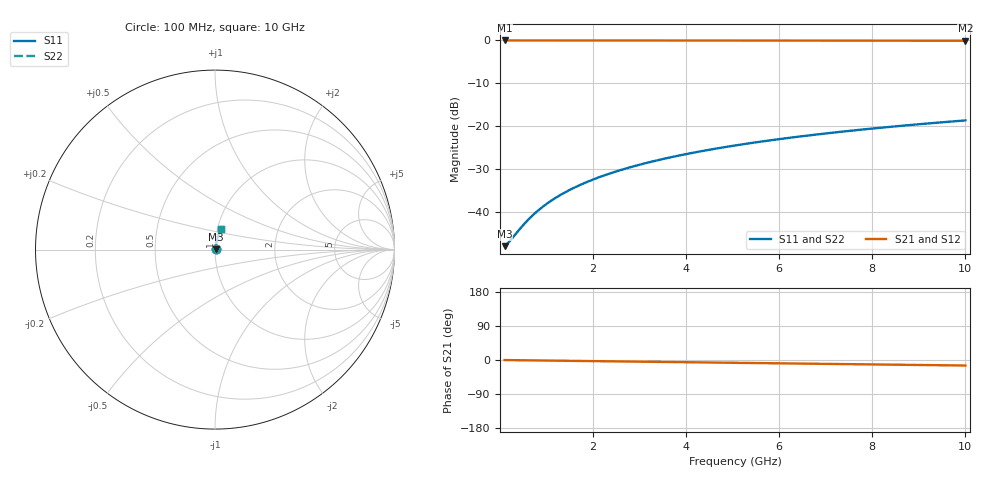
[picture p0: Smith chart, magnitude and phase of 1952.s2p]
# Hz S RI R 50.00
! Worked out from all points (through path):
!   100 points, 100 MHz to 10 GHz, reference 50 ohm
!   highest |S21| = -0.03 dB at 100 MHz (marker M1); lowest = -0.1 dB at 10 GHz (marker M2)
!   group delay of S21, straight-line fit = 4.05 ps
!   lowest |S11| = -47.8 dB at 100 MHz (marker M3), VSWR 1.01, Z = 50.4 + j0.119 ohm
!   |S11| at or under -10 dB: start of sweep to end of sweep
!   |S22| runs from -47.8 to -18.6 dB; largest |S21 - S12| = 0
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1e8  0.00388 0.00118  0.9961 -0.00254  0.9961 -0.00254  0.00388 0.00118
2e8  0.00392 0.00236  0.9961 -0.00509  0.9961 -0.00509  0.00392 0.00236
5e8  0.00402 0.0059  0.9959 -0.0127  0.9959 -0.0127  0.00402 0.0059
6e8  0.00407 0.00707  0.9959 -0.0153  0.9959 -0.0153  0.00407 0.00707
7e8  0.00412 0.00825  0.9958 -0.0178  0.9958 -0.0178  0.00412 0.00825
9e8  0.00423 0.0106  0.9957 -0.0229  0.9957 -0.0229  0.00423 0.0106
1.1e9  0.00437 0.013  0.9955 -0.028  0.9955 -0.028  0.00437 0.013
1.3e9  0.00453 0.0153  0.9953 -0.033  0.9953 -0.033  0.00453 0.0153
1.5e9  0.00471 0.0177  0.9951 -0.0381  0.9951 -0.0381  0.00471 0.0177
1.8e9  0.00502 0.0212  0.9947 -0.0457  0.9947 -0.0457  0.00502 0.0212
2.1e9  0.00539 0.0247  0.9942 -0.0533  0.9942 -0.0533  0.00539 0.0247
2.5e9  0.00596 0.0294  0.9934 -0.0635  0.9934 -0.0635  0.00596 0.0294
2.9e9  0.00662 0.034  0.9926 -0.0736  0.9926 -0.0736  0.00662 0.034
3.4e9  0.00759 0.0399  0.9913 -0.0862  0.9913 -0.0862  0.00759 0.0399
3.8e9  0.00846 0.0445  0.9901 -0.0963  0.9901 -0.0963  0.00846 0.0445
4.2e9  0.00943 0.0491  0.9889 -0.1064  0.9889 -0.1064  0.00943 0.0491
5.1e9  0.012 0.0594  0.9856 -0.129  0.9856 -0.129  0.012 0.0594
5.9e9  0.0146 0.0684  0.9821 -0.1489  0.9821 -0.1489  0.0146 0.0684
6.7e9  0.0176 0.0773  0.9781 -0.1688  0.9781 -0.1688  0.0176 0.0773
7.5e9  0.0209 0.086  0.9737 -0.1885  0.9737 -0.1885  0.0209 0.086
8.4e9  0.0251 0.0957  0.9682 -0.2104  0.9682 -0.2104  0.0251 0.0957
1e10  0.0336 0.1123  0.9569 -0.249  0.9569 -0.249  0.0336 0.1123
